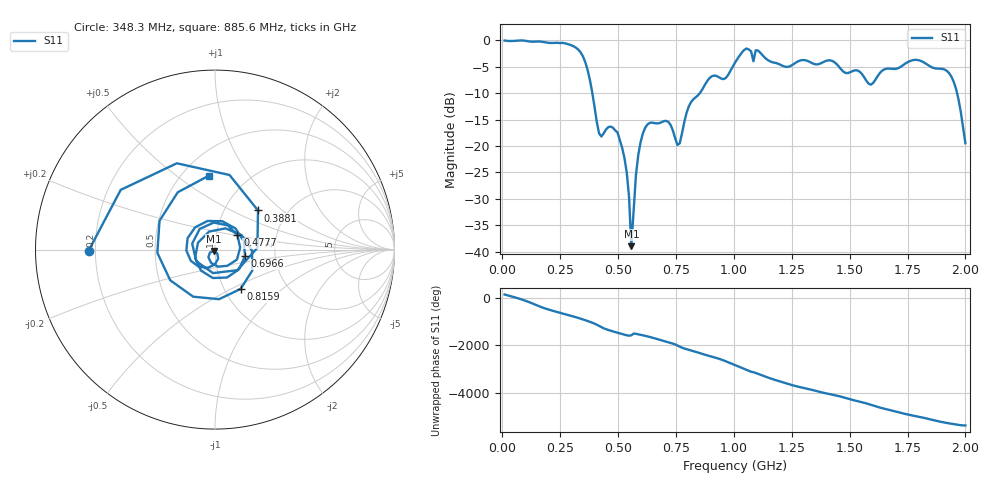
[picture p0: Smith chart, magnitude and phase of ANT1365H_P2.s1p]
!Created with skrf (http://scikit-rf.org).
# Hz S RI R 50.0
!freq ReS11 ImS11
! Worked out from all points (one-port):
!   201 points, 10 MHz to 2 GHz, reference 50 ohm
!   lowest |S11| = -39.0 dB at 557.2 MHz (marker M1), VSWR 1.02, Z = 49.2 - j0.816 ohm
!   |S11| at or under -10 dB: 388.9 MHz to 853 MHz (464.2 MHz wide, 74.8 % of centre); 1.964 GHz to end of sweep
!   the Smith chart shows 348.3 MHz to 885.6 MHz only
!   S11 on the Smith chart (normalised r, x): 348.3 MHz: 0.17, -0.00; 388.1 MHz: 1.43, +0.70; 477.6 MHz: 1.27, +0.21; 696.5 MHz: 1.40, -0.11; 816 MHz: 1.19, -0.56; 885.6 MHz: 0.67, +0.66
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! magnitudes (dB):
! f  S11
! 10 MHz  -0.1
! 258.8 MHz  -0.5
! 348.3 MHz  -3.1
! 388.1 MHz  -9.8
! 417.9 MHz  -17.6
! 477.6 MHz  -16.5
! 507.5 MHz  -18.9
! 537.4 MHz  -25.0
! 547.3 MHz  -29.6
! 557.2 MHz  -39.0
! 577.1 MHz  -25.5
! 597 MHz  -19.3
! 626.9 MHz  -15.9
! 696.5 MHz  -15.3
! 756.2 MHz  -19.8
! 816 MHz  -11.7
! 885.6 MHz  -7.7
! 1.005 GHz  -4.2
! 1.055 GHz  -1.6
! 1.085 GHz  -4.0
! 1.095 GHz  -1.9
! 1.254 GHz  -4.6
! 1.502 GHz  -6.1
! 1.592 GHz  -8.4
! 1.751 GHz  -4.1
! 1.93 GHz  -6.3
! 1.97 GHz  -11.1
! 2 GHz  -19.5
